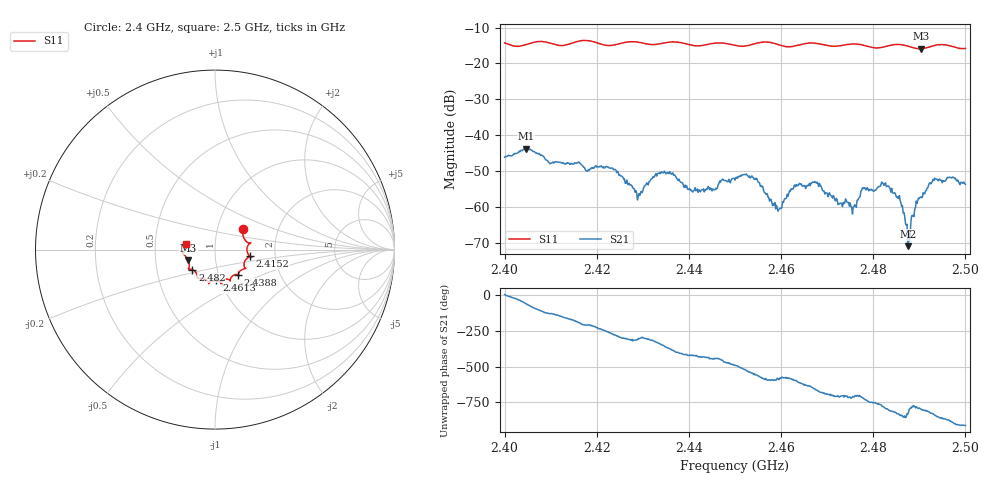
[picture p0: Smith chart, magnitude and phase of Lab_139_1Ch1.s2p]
# Hz S RI R 50
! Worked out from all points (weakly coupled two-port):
!   601 points, 2.4 GHz to 2.5 GHz, reference 50 ohm
!   highest |S21| = -43.77 dB at 2.4047 GHz (marker M1); lowest = -70.9 dB at 2.4875 GHz (marker M2)
!   lowest |S11| = -15.9 dB at 2.4903 GHz (marker M3), VSWR 1.38, Z = 36.8 - j4.45 ohm
!   |S11| at or under -10 dB: start of sweep to end of sweep
!   S12 and S22 are empty: the file has one direction only
!   S11 on the Smith chart (normalised r, x): 2.4 GHz: 1.33, +0.31; 2.4152 GHz: 1.48, -0.11; 2.4388 GHz: 1.24, -0.36; 2.4613 GHz: 0.96, -0.34; 2.482 GHz: 0.76, -0.17; 2.5 GHz: 0.72, +0.05
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2.4e9  0.158 0.1121  0.00491 0.000449  0 0  0 0
2.404667e9  0.1787 0.0411  0.00325 -0.00561  0 0  0 0
2.415167e9  0.1938 -0.0372  -0.00413 -4.96e-05  0 0  0 0
2.416667e9  0.2037 -0.0436  -0.00359 0.00148  0 0  0 0
2.423667e9  0.1619 -0.081  0.000368 0.00328  0 0  0 0
2.428833e9  0.1686 -0.1058  0.000838 0.000929  0 0  0 0
2.433333e9  0.1325 -0.1314  0.00267 0.00126  0 0  0 0
2.438833e9  0.1298 -0.1408  0.00113 -0.0016  0 0  0 0
2.45e9  0.069 -0.1649  -0.00153 -0.00181  0 0  0 0
2.454167e9  0.0341 -0.1847  -0.0024 0.000345  0 0  0 0
2.459333e9  0.0308 -0.1812  -0.000615 0.00062  0 0  0 0
2.461333e9  0.00754 -0.1711  -0.00117 0.000951  0 0  0 0
2.466667e9  -0.0348 -0.19  0.000604 0.00207  0 0  0 0
2.475833e9  -0.0951 -0.1609  0.00101 0.000115  0 0  0 0
2.477833e9  -0.0976 -0.151  0.0018 -8.02e-05  0 0  0 0
2.482e9  -0.1259 -0.1117  0.00108 -0.0019  0 0  0 0
2.483333e9  -0.1395 -0.1087  0.000209 -0.00195  0 0  0 0
2.485833e9  -0.1486 -0.1077  -0.000675 -0.00103  0 0  0 0
2.4875e9  -0.1445 -0.098  -0.000111 -0.000262  0 0  0 0
2.490333e9  -0.1493 -0.0589  0.000325 -0.00134  0 0  0 0
2.493333e9  -0.1771 -0.0251  -0.00133 -0.00215  0 0  0 0
2.5e9  -0.1589 0.0327  -0.00202 0.000462  0 0  0 0
